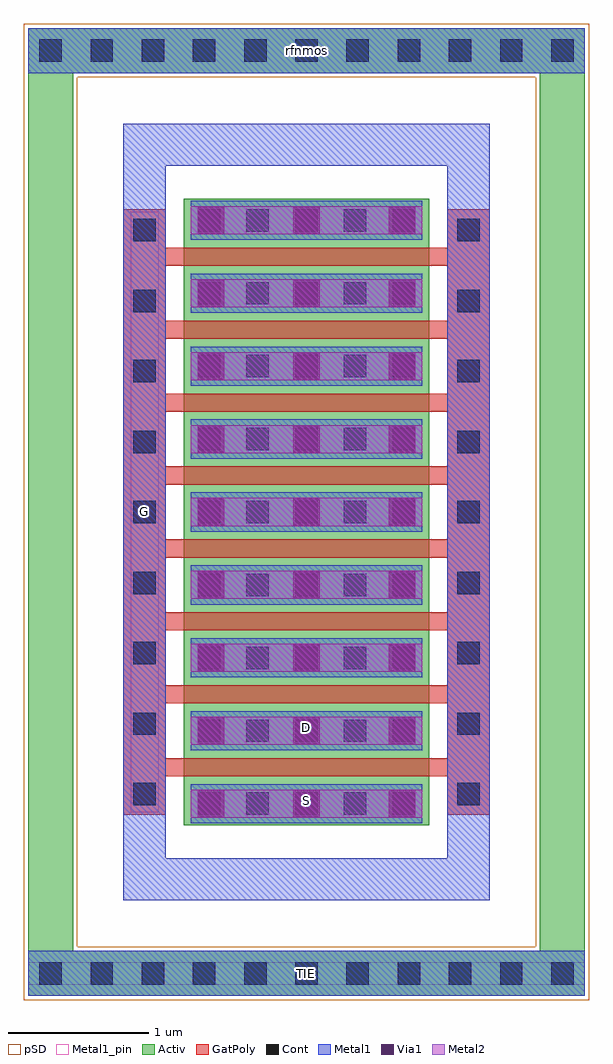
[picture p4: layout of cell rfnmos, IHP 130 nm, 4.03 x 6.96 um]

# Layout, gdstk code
import gdstk
lib = gdstk.Library(unit=1e-6, precision=1e-09)
def R(c, l, rs):  # rectangles x0, y0, x1, y1
    for r in rs: c.add(gdstk.rectangle(r[:2], r[2:], *l))
def A(c, l, x, y, w, h, nx, ny, dx, dy):  # array of equal rectangles
    R(c, l, [(x+i*dx, y+j*dy, x+i*dx+w, y+j*dy+h) for i in range(nx) for j in range(ny)])
def P(c, l, *ps):  # polygons
    for p in ps: c.add(gdstk.Polygon(p, *l))
Activ = (1, 0)
GatPoly = (5, 0)
Cont = (6, 0)
Metal1 = (8, 0)
Metal1_pin = (8, 2)
Metal2 = (10, 0)
pSD = (14, 0)
Via1 = (19, 0)

rfnmos = lib.new_cell('rfnmos')
R(rfnmos, Activ, [(1.14,1.245,2.89,5.715)])
P(rfnmos, Activ, [(0.03,0.03),(0.03,6.61),(0.35,6.61),(0.35,0.35),(3.68,0.35),(3.68,6.61),(0.03,6.61),(0.03,6.93),(4,6.93),(4,0.03)])
A(rfnmos, GatPoly, 1.01, 1.595, 2.01, 0.13, 1, 8, 0, 0.52)
R(rfnmos, GatPoly, [(0.71,1.32,1.01,5.64), (3.02,1.32,3.32,5.64)])
A(rfnmos, Cont, 0.11, 0.11, 0.16, 0.16, 11, 2, 0.365, 6.58)
A(rfnmos, Cont, 1.24, 1.32, 0.16, 0.16, 1, 9, 0, 0.52)
A(rfnmos, Cont, 1.585, 1.32, 0.16, 0.16, 1, 9, 0, 0.52)
A(rfnmos, Cont, 1.935, 1.32, 0.16, 0.16, 1, 9, 0, 0.52)
A(rfnmos, Cont, 2.28, 1.32, 0.16, 0.16, 1, 9, 0, 0.52)
A(rfnmos, Cont, 2.63, 1.32, 0.16, 0.16, 1, 9, 0, 0.52)
R(rfnmos, Cont, [(0.78,1.39,0.94,1.55), (3.09,1.39,3.25,1.55), (0.78,1.89,0.94,2.05), (3.09,1.89,3.25,2.05), (0.78,2.395,0.94,2.555), (3.09,2.395,3.25,2.555), (0.78,2.895,0.94,3.055), (3.09,2.895,3.25,3.055), (0.78,3.4,0.94,3.56), (3.09,3.4,3.25,3.56), (0.78,3.9,0.94,4.06), (3.09,3.9,3.25,4.06), (0.78,4.405,0.94,4.565), (3.09,4.405,3.25,4.565), (0.78,4.905,0.94,5.065), (3.09,4.905,3.25,5.065), (0.78,5.41,0.94,5.57), (3.09,5.41,3.25,5.57)])
A(rfnmos, Metal1, 1.19, 1.26, 1.65, 0.28, 1, 9, 0, 0.52)
R(rfnmos, Metal1, [(0.03,0.03,4,0.35), (0.76,1.34,0.96,5.62), (3.07,1.34,3.27,5.62), (0.03,6.61,4,6.93)])
P(rfnmos, Metal1, [(0.71,0.71),(0.71,5.95),(1.01,5.95),(1.01,1.01),(3.02,1.01),(3.02,5.95),(0.71,5.95),(0.71,6.25),(3.32,6.25),(3.32,0.71)])
R(rfnmos, Metal1_pin, [(0.03,0.11,4,0.27), (0.03,0.11,4,0.27), (1.19,1.26,2.84,1.54), (1.19,1.26,2.84,1.54), (0.76,1.34,0.96,5.62), (0.76,1.34,0.96,5.62), (1.19,1.78,2.84,2.06), (1.19,1.78,2.84,2.06)])
A(rfnmos, Metal2, 1.19, 1.3, 1.65, 0.2, 1, 9, 0, 0.52)
P(rfnmos, pSD, [(0,0),(0,6.58),(0.38,6.58),(0.38,0.38),(3.65,0.38),(3.65,6.58),(0,6.58),(0,6.96),(4.03,6.96),(4.03,0)])
A(rfnmos, Via1, 1.24, 1.305, 0.19, 0.19, 3, 9, 0.68, 0.52)
rfnmos.add(gdstk.Label('S', (2.015,1.42), layer=63, texttype=0))
rfnmos.add(gdstk.Label('D', (2.015,1.94), layer=63, texttype=0))
rfnmos.add(gdstk.Label('G', (0.86,3.48), layer=63, texttype=0))
rfnmos.add(gdstk.Label('TIE', (2.015,0.19), layer=63, texttype=0))
rfnmos.add(gdstk.Label('rfnmos', (2.015,6.77), layer=63, texttype=0))

lib.write_gds('rfnmos.gds')
